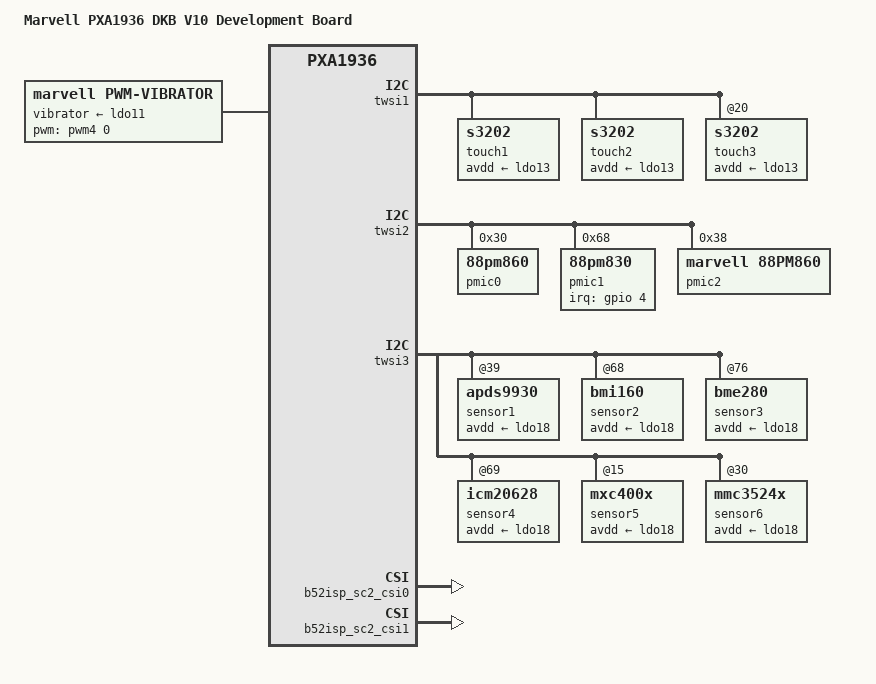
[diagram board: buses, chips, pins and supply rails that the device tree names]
/*
 *  Copyright (C) 2014 Marvell Technology Group Ltd.
 *  Author: Tim Wang <wangtt@marvell.com>
 *
 *  This program is free software; you can redistribute it and/or modify
 *  it under the terms of the GNU General Public License version 2 as
 *  publishhed by the Free Software Foundation.
 */

/dts-v1/;
#include "pxa1936-board-common.dtsi"

/ {
	model = "Marvell PXA1936 DKB V10 Development Board";
	compatible = "marvell,pxa1936-dkb", "marvell,pxa1936";
	soc {
		apb@d4000000 {
			twsi1: i2c@d4010800 {
				touch1: s3202@720p {
					avdd-supply = <&ldo13>;
				};

				touch2: s3202@1080p {
					avdd-supply = <&ldo13>;
				};

				touch3: s3202@20 {
					avdd-supply = <&ldo13>;
				};
			};

			twsi2: i2c@d4037000 {
				status = "okay";

				pmic0: 88pm860@30 {
					reg = <0x30>;
					interrupts = <0 4 IRQ_TYPE_LEVEL_HIGH>;
					interrupt-parent = <&gic>;

					onkey {
						onkey-gpio-number = <0>;
						/* hardware reset: just reset */
						hw-rst-type = <1>;
						/* long onkey: power down */
						long-onkey-type = <1>;
					};

					vbus {
						vbus-gpio = <0xff>;
						id-gpadc = <2>;
					};

					dvc {
						pinctrl-names = "default";
						pinctrl-0 = <&dvc_pmx_func>;
					};
				};

				pmic1: 88pm830@68 {
					/* gpio 4, 19, 124 */
					pinctrl-names = "default","sleep";
					pinctrl-0 = <&pmic1_pins>;
					pinctrl-1 = <&pmic1_pins_sleep>;

					reg = <0x68>;
					interrupt-parent = <&gpio>;
					interrupts = <4 IRQ_TYPE_EDGE_FALLING>;
					edge-wakeup-gpio = <4>;

					/* this is a temporary solution, only need vbus driver */
				        charger {
				        };
				        battery {
						marvell,fg-has-external-storage;
						external-storage = <&pmic0>;
						external-resistor = <200>; /* mohm */
				        };
				        led {
					        flash-en-gpio = <124>;
					        flash-txmsk-gpio = <19>;
						status = "okay";
				        };
					vbus {
						status = "okay";
					};
				        debug {
				        };
			       };

				pmic2: 88pm860@38 {
					compatible = "marvell,88pm860";
					reg = <0x38>;
					marvell,pmic-type = <0>;
					/* no codec_int currently, comment out now */
					/*
					interrupt-parent = <&gpio>;
					interrupts = <124 0x1>;
					marvell,88pm805-irq-write-clear;
					*/
					pm860_codec: pm860_codec {
						compatible = "marvell,88pm860-codec";
						#dailink-cells = <1>;
					};
				};
			};
			twsi3: i2c@d4013800 {
				status = "okay";
				sensor1: apds9930@39 {
					avdd-supply = <&ldo18>;
					};

					sensor2: bmi160@68 {
					avdd-supply = <&ldo18>;
					};

					sensor3: bme280@76 {
					avdd-supply = <&ldo18>;
					};
					sensor4: icm20628@69 {
					avdd-supply = <&ldo18>;
					};
					sensor5: mxc400x@15 {
					avdd-supply = <&ldo18>;
					};
					sensor6: mmc3524x@30 {
					avdd-supply = <&ldo18>;
					};
			};

		};

		axi@d4200000 {  /* AXI */
			/* SD card */
			sdh0: sdh@d4280000 {
			      vqmmc-supply    = <&ldo17>;
			      vmmc-supply     = <&ldo5>;
			};
		};
		map@d1200000 {
				pmic-name = "88pm860";
				vccmain-supply = <&buck1a>;
		};
	};

	vibrator {
		compatible = "marvell,pwm-vibrator";
		pwms = <&pwm4 0 1000>;
		min_timeout = <0>;
		duty_cycle = <800>;
		vibrator-supply = <&ldo11>;
	};

	panel1: r63311 {
		rst_gpio = <&gpio 98 0>;
		power_gpio = <&gpio 96 0>;
		marvell,mipi-backlight;
	};
	panel2: hx8394 {
		rst_gpio = <&gpio 98 0>;
		avdd-supply = <&ldo10>;
	};

	panel3: lg4591 {
		rst_gpio = <&gpio 98 0>;
		avdd-supply = <&ldo10>;
	};

	mmp_m3_1: apsenhb {
		pmicver = <1>;
		vm3pwr-supply = <&ldo3>;
		antpwr-supply = <&ldo9>;
		vccmain-supply = <&buck1a>;
	};

	mmp_m3_2: cm3senhb {
		pmicver = <1>;
		vm3pwr-supply = <&ldo3>;
		antpwr-supply = <&ldo9>;
		senpwr-supply = <&ldo18>;
		vccmain-supply = <&buck1a>;
	};

	mcam0:mcam@0 {
		sc2-i2c-dyn-ctrl;
		pwdn-gpios = <&gpio 68 0>;
		reset-gpios = <&gpio 67 0>;
		/*
		af_2v8-supply = <&ldo10>;
		avdd_2v8-supply = <&ldo11>;
		dovdd_1v8-supply = <&voutsw>;
		dvdd_1v2-supply = <&ldo12>;
		*/
		dphy_val = <0xff1d00 0x00024733 0x04001001>;
		status = "disable";
	};

	mcam1:mcam@1 {
		sc2-i2c-dyn-ctrl;
		pwdn-gpios = <&gpio 70 0>;
		reset-gpios = <&gpio 69 0>;

		af_2v8-supply = <&ldo8>;
		avdd_2v8-supply = <&ldo7>;
		dovdd_1v8-supply = <&buck2>;
		dvdd_1v2-supply = <&ldo19>;

		dphy_val = <0xff1d00 0x00024733 0x04001001>;
		status = "okay";
	};

	soc-camera@0 {
		status = "okay";
	};

	soc-camera@1 {
		status = "okay";
	};

	plat_cam {
		status = "okay";
		frontsensor {
			compatible = "marvell,frontsensor";
			#address-cells = <1>;
			#size-cells = <0>;
			status = "okay";
			OV2680f: sensor@0 {
				compatible = "ovt,ov2680";
				status = "okay";
				clocks = <&soc_clocks PXA1936_CLK_SC2_MCLK>;
				clock-names =  "SC2MCLK";
				reg = <0x36>;
				sc2-i2c-dyn-ctrl;
				adapter = <0x1>;
				sensor-pos = <1>;
				mclk = <26000000>;
				dphy3 = <0x1900>;
				dphy5 = <0x4711>;
				dphy6 = <0x1001>;
				af_2v8-supply = <&ldo8>;
				avdd_2v8-supply = <&ldo7>;
				dovdd_1v8-supply = <&buck2>;
				dvdd_1v2-supply = <&ldo19>;
				pwdn-gpios = <&gpio 70 1>;
				reset-gpios = <&gpio 69 1>;
			};
			S5K5E3F: sensor@1 {
				compatible = "samsung,s5k5e3";
				status = "okay";
                                reg = <0x10>;
                                clocks = <&soc_clocks PXA1936_CLK_SC2_MCLK>;
                                clock-names = "SC2MCLK";
                                sc2-i2c-dyn-ctrl;
                                adapter = <0x1>;
                                sensor-pos = <1>;
                                mclk = <26000000>;
                                dphy3 = <0x5100>;
                                dphy5 = <0xff>;
                                dphy6 = <0x1001>;
				af_2v8-supply = <&ldo8>;
				avdd_2v8-supply = <&ldo7>;
				dovdd_1v8-supply = <&buck2>;
				dvdd_1v2-supply = <&ldo19>;
				pwdn-gpios = <&gpio 70 1>;
				reset-gpios = <&gpio 69 1>;
			};
		};
		backsensor {
			compatible = "marvell,backsensor";
			#address-cells = <1>;
			#size-cells = <0>;
			status = "okay";

			OV5642: sensor@0 {
				compatible = "ovt,ov5642";
				sensor-name = "ovt,ov5642";
				reg = <0x3c>;
				clocks = <&soc_clocks PXA1936_CLK_SC2_MCLK>;
				clock-names = "SC2MCLK";
				adapter = <0x1>;
				status = "okay";
				mclk = <24000000>;
				sensor-pos = <1>;
				dphy3 = <0x1500>;
				dphy5 = <0xff>;
				dphy6 = <0x1001>;
				/*
				af_2v8-supply = <&ldo10>;
				avdd_2v8-supply = <&ldo11>;
				dovdd_1v8-supply = <&voutsw>;
				dvdd_1v2-supply = <&ldo12>;
				*/
				pwdn-gpios = <&gpio 68 1>;
				reset-gpios = <&gpio 67 1>;
			};
			OV13850: sensor@1 {
				compatible = "ovt,ov13850";
				status = "okay";
				reg = <0x10>;
				clocks = <&soc_clocks PXA1936_CLK_SC2_MCLK>;
				clock-names = "SC2MCLK";
				sc2-i2c-dyn-ctrl;
				adapter = <0x1>;
				sensor-pos = <1>;
				mclk = <24000000>;
				dphy3 = <0xff4115>;
				dphy5 = <0x247ff>;
				dphy6 = <0x4001001>;
				af_2v8-supply = <&ldo8>;
				avdd_2v8-supply = <&ldo7>;
				dovdd_1v8-supply = <&buck2>;
				dvdd_1v2-supply = <&ldo19>;
				pwdn-gpios = <&gpio 68 1>;
				reset-gpios = <&gpio 67 1>;
			};
			SR544: sensor@2 {
				compatible = "samsung,sr544";
				status = "okay";
				reg = <0x28>;
				clocks = <&soc_clocks PXA1936_CLK_SC2_MCLK>;
				clock-names = "SC2MCLK";
				sc2-i2c-dyn-ctrl;
				adapter = <0x1>;
				sensor-pos = <1>;
				mclk = <26000000>;
				dphy3 = <0x1500>;
				dphy5 = <0xff>;
				dphy6 = <0x1001>;
				af_2v8-supply = <&ldo8>;
				avdd_2v8-supply = <&ldo7>;
				dovdd_1v8-supply = <&buck2>;
				dvdd_1v2-supply = <&ldo19>;
				pwdn-gpios = <&gpio 68 1>;
				reset-gpios = <&gpio 67 1>;
			};
			imx219: sensor@3 {
				compatible = "sony,imx219";
				status = "okay";
				reg = <0x1A>;
				clocks = <&soc_clocks PXA1936_CLK_SC2_MCLK>;
				clock-names = "SC2MCLK";
				sc2-i2c-dyn-ctrl;
				adapter = <0x1>;
				sensor-pos = <1>;
				mclk = <26000000>;
				dphy3 = <0x1500>;
				dphy5 = <0xff>;
				dphy6 = <0x1001>;
				af_2v8-supply = <&ldo8>;
				avdd_2v8-supply = <&ldo7>;
				dovdd_1v8-supply = <&buck2>;
				dvdd_1v2-supply = <&ldo19>;
				pwdn-gpios = <&gpio 68 1>;
				reset-gpios = <&gpio 67 1>;
			};
			OV13850R2A: sensor@4 {
				compatible = "ovt,ov13850r2a";
				status = "okay";
				reg = <0x10>;
				clocks = <&soc_clocks PXA1936_CLK_SC2_MCLK>;
				clock-names = "SC2MCLK";
				sc2-i2c-dyn-ctrl;
				adapter = <0x1>;
				sensor-pos = <1>;
				mclk = <24000000>;
				dphy3 = <0xff4116>;
				dphy5 = <0x247ff>;
				dphy6 = <0x4001001>;
				af_2v8-supply = <&ldo8>;
				avdd_2v8-supply = <&ldo7>;
				dovdd_1v8-supply = <&buck2>;
				dvdd_1v2-supply = <&ldo19>;
				pwdn-gpios = <&gpio 68 1>;
				reset-gpios = <&gpio 67 1>;
			};
			S5K3L2: sensor@5 {
				compatible = "samsung,s5k3l2";
				status = "okay";
				reg = <0x2d>;
				clocks = <&soc_clocks PXA1936_CLK_SC2_MCLK>;
				clock-names = "SC2MCLK";
				sc2-i2c-dyn-ctrl;
				adapter = <0x1>;
				sensor-pos = <1>;
				mclk = <26000000>;
				dphy3 = <0xff4115>;
				dphy5 = <0x247ff>;
				dphy6 = <0x4001001>;
				af_2v8-supply = <&ldo8>;
				avdd_2v8-supply = <&ldo7>;
				dovdd_1v8-supply = <&buck2>;
				dvdd_1v2-supply = <&ldo19>;
				pwdn-gpios = <&gpio 68 1>;
				reset-gpios = <&gpio 67 1>;
			};
			S5K5E3B: sensor@6 {
				compatible = "samsung,s5k5e3";
				status = "okay";
                                reg = <0x10>;
                                clocks = <&soc_clocks PXA1936_CLK_SC2_MCLK>;
                                clock-names = "SC2MCLK";
                                sc2-i2c-dyn-ctrl;
                                adapter = <0x1>;
                                sensor-pos = <1>;
                                mclk = <26000000>;
                                dphy3 = <0x5100>;
                                dphy5 = <0xff>;
                                dphy6 = <0x1001>;
                                af_2v8-supply = <&ldo8>;
                                avdd_2v8-supply = <&ldo7>;
                                dovdd_1v8-supply = <&buck2>;
                                dvdd_1v2-supply = <&ldo19>;
                                pwdn-gpios = <&gpio 68 1>;
                                reset-gpios = <&gpio 67 1>;
			};
		};
	};

	b52isp_sc2_csi0 {
	        status = "okay";
	};
	b52isp_sc2_csi1 {
			csi_mux_repacked;
	        status = "okay";
	};
	b52isp_sc2_dma0 {
	        status = "okay";
	};
	b52isp_sc2_dma1 {
	        status = "okay";
	};
};

#include "88pm860.dtsi"
#include "88pm860_pxa1936_dkb.dtsi"
#include "88pm830.dtsi"
#include "88pm830_battery_common.dtsi"
#include "88pm830_sp4555557sa.dtsi"
